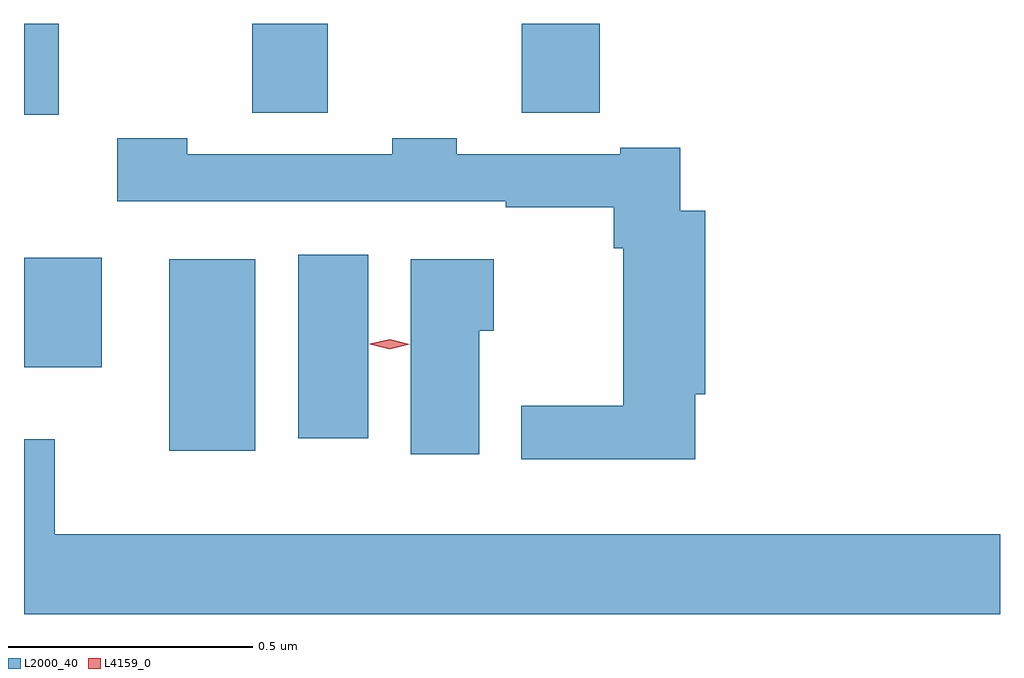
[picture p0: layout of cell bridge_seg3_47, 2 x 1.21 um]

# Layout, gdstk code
import gdstk
lib = gdstk.Library(unit=1e-6, precision=1e-09)
def R(c, l, rs):  # rectangles x0, y0, x1, y1
    for r in rs: c.add(gdstk.rectangle(r[:2], r[2:], *l))
def P(c, l, *ps):  # polygons
    for p in ps: c.add(gdstk.Polygon(p, *l))
L2000_40 = (2000, 40)
L4159_0 = (4159, 0)

bridge_seg3_47 = lib.new_cell('bridge_seg3_47')
R(bridge_seg3_47, L2000_40, [(1132.562,702.584,1132.738,702.976), (1132.826,702.609,1132.969,702.985), (1132.264,702.755,1132.423,702.979), (1132.264,703.272,1132.335,703.459), (1132.732,703.276,1132.886,703.459), (1133.284,703.276,1133.444,703.459)])
P(bridge_seg3_47, L2000_40, [(1133.639,702.699),(1133.66,702.699),(1133.66,703.075),(1133.609,703.075),(1133.609,703.204),(1133.486,703.204),(1133.486,703.191),(1133.151,703.191),(1133.151,703.224),(1133.019,703.224),(1133.019,703.191),(1132.599,703.191),(1132.599,703.224),(1132.455,703.224),(1132.455,703.095),(1133.251,703.095),(1133.251,703.083),(1133.473,703.083),(1133.473,702.998),(1133.492,702.998),(1133.492,702.676),(1133.283,702.676),(1133.283,702.566),(1133.639,702.566)],
  [(1133.197,702.829),(1133.227,702.829),(1133.227,702.976),(1133.057,702.976),(1133.057,702.576),(1133.197,702.576)],
  [(1134.264,702.412),(1132.327,702.412),(1132.327,702.607),(1132.264,702.607),(1132.264,702.248),(1134.264,702.248)])
P(bridge_seg3_47, L4159_0, [(1133.013,702.792),(1132.972,702.802),(1132.972,702.803),(1132.972,702.803),(1133.013,702.812),(1133.054,702.802),(1133.054,702.802),(1133.054,702.802)])

lib.write_gds('bridge_seg3_47.gds')
